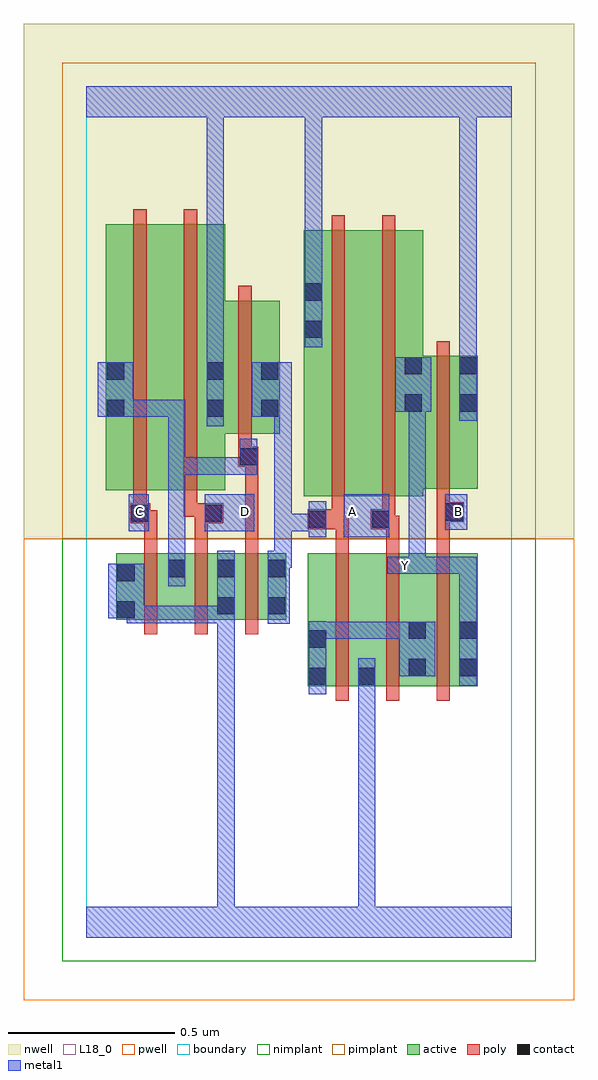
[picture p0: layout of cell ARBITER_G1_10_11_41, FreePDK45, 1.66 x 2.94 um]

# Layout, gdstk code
import gdstk
lib = gdstk.Library(unit=1e-6, precision=1e-09)
def R(c, l, rs):  # rectangles x0, y0, x1, y1
    for r in rs: c.add(gdstk.rectangle(r[:2], r[2:], *l))
def A(c, l, x, y, w, h, nx, ny, dx, dy):  # array of equal rectangles
    R(c, l, [(x+i*dx, y+j*dy, x+i*dx+w, y+j*dy+h) for i in range(nx) for j in range(ny)])
active = (1, 0)
pwell = (2, 0)
nwell = (3, 0)
nimplant = (4, 0)
pimplant = (5, 0)
poly = (9, 0)
contact = (10, 0)
metal1 = (11, 0)
L18_0 = (18, 0)
boundary = (235, 0)

arbiter_g1_10_11_41 = lib.new_cell('ARBITER_G1_10_11_41')
R(arbiter_g1_10_11_41, active, [(0.666,0.756,0.726,1.156), (0.666,0.756,0.874,1.156), (0.814,0.756,1.026,1.156), (0.814,0.756,0.874,0.816), (0.966,0.756,1.178,1.156), (0.966,0.756,1.026,0.954), (1.118,0.756,1.178,1.156), (0.09,0.956,0.15,1.156), (0.09,0.956,0.302,1.156), (0.242,0.956,0.302,1.156), (0.242,0.956,0.45,1.156), (0.39,0.956,0.45,1.156), (0.39,0.956,0.602,1.156), (0.542,0.956,0.602,1.156), (0.654,1.328,0.834,2.128), (0.654,1.328,0.714,2.044), (0.834,1.328,1.014,2.128), (0.058,1.346,0.238,2.146), (0.058,1.346,0.118,2.044), (0.238,1.346,0.418,2.146), (0.954,1.35,1.014,1.75), (0.954,1.35,1.178,1.75), (1.118,1.35,1.178,1.75), (0.358,1.516,0.582,1.916), (0.358,1.516,0.418,1.734), (0.522,1.516,0.582,1.734)])
R(arbiter_g1_10_11_41, pwell, [(-0.188,-0.188,1.468,1.2)])
R(arbiter_g1_10_11_41, nwell, [(-0.188,1.2,1.468,2.748)])
R(arbiter_g1_10_11_41, nimplant, [(-0.072,-0.072,1.352,1.2)])
R(arbiter_g1_10_11_41, pimplant, [(-0.072,1.2,1.352,2.632)])
A(arbiter_g1_10_11_41, poly, 0.75, 0.712, 0.04, 0.488, 3, 1, 0.152, 0)
A(arbiter_g1_10_11_41, poly, 0.174, 0.912, 0.04, 0.288, 3, 1, 0.152, 0)
R(arbiter_g1_10_11_41, poly, [(0.174,1.16,0.214,1.286), (0.326,1.16,0.366,1.286), (0.478,1.16,0.518,1.456), (0.75,1.16,0.79,1.268), (0.902,1.16,0.942,1.268), (1.054,1.16,1.094,1.29), (0.666,1.228,0.778,1.288), (0.738,1.228,0.778,1.268), (0.738,1.228,0.79,1.268), (0.856,1.228,0.93,1.288), (0.89,1.228,0.93,1.268), (0.89,1.228,0.942,1.268), (0.132,1.246,0.192,1.306), (0.152,1.246,0.192,1.286), (0.152,1.246,0.214,1.286), (0.326,1.246,0.412,1.306), (0.738,1.248,0.778,1.324), (0.89,1.248,0.93,1.324), (1.054,1.25,1.094,1.29), (1.054,1.25,1.094,1.29), (1.054,1.25,1.136,1.31), (0.142,1.266,0.182,1.342), (0.294,1.266,0.334,1.342), (0.294,1.266,0.366,1.306), (0.326,1.266,0.366,1.306), (1.054,1.27,1.094,1.346), (0.738,1.284,0.778,2.172), (0.89,1.284,0.93,2.172), (0.142,1.302,0.182,2.19), (0.294,1.302,0.334,2.19), (1.054,1.306,1.094,1.794), (0.458,1.416,0.518,1.476), (0.478,1.416,0.518,1.456), (0.478,1.416,0.518,1.456), (0.458,1.436,0.498,1.512), (0.458,1.472,0.498,1.96)])
R(arbiter_g1_10_11_41, contact, [(0.67,0.76,0.722,0.812), (0.818,0.76,0.87,0.812), (0.97,0.786,1.022,0.838), (1.122,0.786,1.174,0.838), (0.67,0.872,0.722,0.924), (0.97,0.898,1.022,0.95), (1.122,0.898,1.174,0.95), (0.094,0.96,0.146,1.012), (0.394,0.972,0.446,1.024), (0.546,0.972,0.598,1.024), (0.094,1.072,0.146,1.124), (0.246,1.084,0.298,1.136), (0.394,1.084,0.446,1.136), (0.546,1.084,0.598,1.136), (0.67,1.232,0.722,1.284), (0.86,1.232,0.912,1.284), (0.136,1.25,0.188,1.302), (0.356,1.25,0.408,1.302), (1.08,1.254,1.132,1.306), (0.462,1.42,0.514,1.472), (0.062,1.566,0.114,1.618), (0.362,1.566,0.414,1.618), (0.526,1.566,0.578,1.618), (0.958,1.582,1.01,1.634), (1.122,1.582,1.174,1.634), (0.062,1.678,0.114,1.73), (0.362,1.678,0.414,1.73), (0.526,1.678,0.578,1.73), (0.958,1.694,1.01,1.746), (1.122,1.694,1.174,1.746), (0.658,1.804,0.71,1.856), (0.658,1.916,0.71,1.968)])
R(arbiter_g1_10_11_41, metal1, [(0,0,1.28,0.092), (0.394,0.04,0.446,0.092), (0.394,0.04,0.446,0.092), (0.394,0.04,0.446,0.092), (0.394,0.04,0.446,0.092), (0.394,0.04,0.446,0.092), (0.394,0.04,0.446,0.092), (0.394,0.04,0.446,0.092), (0.394,0.04,0.446,0.092), (0.394,0.04,0.446,0.092), (0.394,0.04,0.446,0.092), (0.394,0.04,0.446,0.996), (0.818,0.04,0.87,0.092), (0.818,0.04,0.87,0.092), (0.818,0.04,0.87,0.092), (0.818,0.04,0.87,0.092), (0.818,0.04,0.87,0.092), (0.818,0.04,0.87,0.092), (0.818,0.04,0.87,0.092), (0.818,0.04,0.87,0.092), (0.818,0.04,0.87,0.092), (0.818,0.04,0.87,0.092), (0.818,0.04,0.87,0.092), (0.818,0.04,0.87,0.092), (0.818,0.04,0.87,0.784), (0.67,0.732,0.722,0.952), (0.818,0.732,0.87,0.84), (1.122,0.758,1.174,0.978), (0.942,0.786,1.05,0.95), (0.67,0.898,0.722,0.95), (0.67,0.898,0.722,0.95), (0.67,0.898,0.832,0.95), (0.78,0.898,0.832,0.95), (0.78,0.898,0.832,0.95), (0.78,0.898,0.832,0.95), (0.78,0.898,0.994,0.95), (1.122,0.926,1.174,1.146), (0.394,0.944,0.446,0.996), (0.394,0.944,0.446,0.996), (0.394,0.944,0.446,0.996), (0.394,0.944,0.446,0.996), (0.394,0.944,0.446,0.996), (0.394,0.944,0.446,0.996), (0.394,0.944,0.446,1.164), (0.546,0.944,0.612,1.164), (0.122,0.946,0.304,0.998), (0.122,0.946,0.174,1.012), (0.252,0.946,0.304,0.998), (0.252,0.946,0.304,0.998), (0.252,0.946,0.304,0.998), (0.252,0.946,0.446,0.998), (0.066,0.96,0.174,1.124), (0.122,0.96,0.174,1.012), (0.246,1.056,0.298,1.164), (0.906,1.094,1.022,1.146), (0.97,1.094,1.022,1.146), (0.97,1.094,1.022,1.146), (0.97,1.094,1.022,1.146), (0.97,1.094,1.022,1.146), (0.97,1.094,1.174,1.146), (0.97,1.094,1.022,1.634), (1.122,1.094,1.174,1.146), (0.246,1.112,0.298,1.444), (0.56,1.112,0.612,1.164), (0.56,1.112,0.618,1.164), (0.566,1.112,0.618,1.274), (0.67,1.204,0.722,1.312), (0.774,1.204,0.912,1.334), (0.128,1.222,0.188,1.334), (0.356,1.222,0.506,1.334), (0.566,1.222,0.618,1.274), (0.566,1.222,0.716,1.274), (0.566,1.222,0.618,1.618), (0.664,1.222,0.716,1.274), (0.664,1.222,0.722,1.274), (1.08,1.226,1.146,1.334), (0.246,1.392,0.298,1.444), (0.246,1.392,0.298,1.444), (0.246,1.392,0.298,1.444), (0.246,1.392,0.298,1.444), (0.246,1.392,0.298,1.444), (0.246,1.392,0.44,1.444), (0.246,1.392,0.298,1.618), (0.388,1.392,0.44,1.444), (0.388,1.392,0.514,1.444), (0.462,1.392,0.514,1.5), (0.362,1.538,0.414,1.758), (1.122,1.554,1.174,1.774), (0.034,1.566,0.142,1.73), (0.09,1.566,0.142,1.618), (0.09,1.566,0.142,1.618), (0.09,1.566,0.298,1.618), (0.246,1.566,0.298,1.618), (0.498,1.566,0.618,1.73), (0.93,1.582,1.038,1.746), (0.362,1.706,0.414,2.52), (1.122,1.722,1.174,1.774), (1.122,1.722,1.174,1.774), (1.122,1.722,1.174,1.774), (1.122,1.722,1.174,1.774), (1.122,1.722,1.174,1.774), (1.122,1.722,1.174,1.774), (1.122,1.722,1.174,1.774), (1.122,1.722,1.174,1.774), (1.122,1.722,1.174,1.774), (1.122,1.722,1.174,1.774), (1.122,1.722,1.174,1.774), (1.122,1.722,1.174,1.774), (1.122,1.722,1.174,2.52), (0.658,1.776,0.71,1.996), (0.658,1.944,0.71,1.996), (0.658,1.944,0.71,1.996), (0.658,1.944,0.71,1.996), (0.658,1.944,0.71,1.996), (0.658,1.944,0.71,1.996), (0.658,1.944,0.71,1.996), (0.658,1.944,0.71,2.52), (0,2.468,1.28,2.56), (0.362,2.468,0.414,2.52), (0.362,2.468,0.414,2.52), (0.362,2.468,0.414,2.52), (0.362,2.468,0.414,2.52), (0.362,2.468,0.414,2.52), (0.362,2.468,0.414,2.52), (0.362,2.468,0.414,2.52), (0.362,2.468,0.414,2.52), (0.658,2.468,0.71,2.52), (0.658,2.468,0.71,2.52), (1.122,2.468,1.174,2.52), (1.122,2.468,1.174,2.52), (1.122,2.468,1.174,2.52), (1.122,2.468,1.174,2.52)])
A(arbiter_g1_10_11_41, L18_0, 0.134, 1.254, 0.052, 0.052, 4, 1, 0.32, 0)
R(arbiter_g1_10_11_41, L18_0, [(0,0,1.28,0.092), (0.394,0.04,0.446,0.092), (0.394,0.04,0.446,0.092), (0.394,0.04,0.446,0.092), (0.394,0.04,0.446,0.092), (0.394,0.04,0.446,0.092), (0.394,0.04,0.446,0.092), (0.394,0.04,0.446,0.092), (0.394,0.04,0.446,0.092), (0.394,0.04,0.446,0.092), (0.394,0.04,0.446,0.092), (0.394,0.04,0.446,0.996), (0.818,0.04,0.87,0.092), (0.818,0.04,0.87,0.092), (0.818,0.04,0.87,0.092), (0.818,0.04,0.87,0.092), (0.818,0.04,0.87,0.092), (0.818,0.04,0.87,0.092), (0.818,0.04,0.87,0.092), (0.818,0.04,0.87,0.092), (0.818,0.04,0.87,0.092), (0.818,0.04,0.87,0.092), (0.818,0.04,0.87,0.092), (0.818,0.04,0.87,0.092), (0.818,0.04,0.87,0.784), (0.818,0.732,0.87,0.84), (1.122,0.758,1.174,0.978), (1.122,0.926,1.174,1.146), (0.394,0.944,0.446,0.996), (0.394,0.944,0.446,0.996), (0.394,0.944,0.446,0.996), (0.394,0.944,0.446,0.996), (0.394,0.944,0.446,0.996), (0.394,0.944,0.446,0.996), (0.394,0.944,0.446,1.164), (0.122,0.946,0.174,1.012), (0.122,0.946,0.304,0.998), (0.252,0.946,0.304,0.998), (0.252,0.946,0.304,0.998), (0.252,0.946,0.304,0.998), (0.252,0.946,0.446,0.998), (0.066,0.96,0.174,1.124), (0.122,0.96,0.174,1.012), (0.906,1.094,1.022,1.146), (0.934,1.094,0.986,1.146), (0.97,1.094,1.022,1.146), (0.97,1.094,1.022,1.146), (0.97,1.094,1.022,1.146), (0.97,1.094,1.022,1.146), (0.97,1.094,1.022,1.634), (0.97,1.094,1.174,1.146), (1.122,1.094,1.174,1.146), (0.774,1.204,0.912,1.334), (0.128,1.222,0.188,1.334), (0.356,1.222,0.506,1.334), (1.08,1.226,1.146,1.334), (0.362,1.538,0.414,1.758), (1.122,1.554,1.174,1.774), (0.93,1.582,1.038,1.746), (0.362,1.706,0.414,2.52), (1.122,1.722,1.174,1.774), (1.122,1.722,1.174,1.774), (1.122,1.722,1.174,1.774), (1.122,1.722,1.174,1.774), (1.122,1.722,1.174,1.774), (1.122,1.722,1.174,1.774), (1.122,1.722,1.174,1.774), (1.122,1.722,1.174,1.774), (1.122,1.722,1.174,1.774), (1.122,1.722,1.174,1.774), (1.122,1.722,1.174,1.774), (1.122,1.722,1.174,1.774), (1.122,1.722,1.174,2.52), (0.658,1.776,0.71,1.996), (0.658,1.944,0.71,1.996), (0.658,1.944,0.71,1.996), (0.658,1.944,0.71,1.996), (0.658,1.944,0.71,1.996), (0.658,1.944,0.71,1.996), (0.658,1.944,0.71,1.996), (0.658,1.944,0.71,2.52), (0,2.468,1.28,2.56), (0.362,2.468,0.414,2.52), (0.362,2.468,0.414,2.52), (0.362,2.468,0.414,2.52), (0.362,2.468,0.414,2.52), (0.362,2.468,0.414,2.52), (0.362,2.468,0.414,2.52), (0.362,2.468,0.414,2.52), (0.362,2.468,0.414,2.52), (0.658,2.468,0.71,2.52), (0.658,2.468,0.71,2.52), (1.122,2.468,1.174,2.52), (1.122,2.468,1.174,2.52), (1.122,2.468,1.174,2.52), (1.122,2.468,1.174,2.52)])
R(arbiter_g1_10_11_41, boundary, [(0,0,1.28,2.56)])
arbiter_g1_10_11_41.add(gdstk.Label('A', (0.8,1.28), layer=11, texttype=0))
arbiter_g1_10_11_41.add(gdstk.Label('B', (1.12,1.28), layer=11, texttype=0))
arbiter_g1_10_11_41.add(gdstk.Label('C', (0.16,1.28), layer=11, texttype=0))
arbiter_g1_10_11_41.add(gdstk.Label('D', (0.48,1.28), layer=11, texttype=0))
arbiter_g1_10_11_41.add(gdstk.Label('Y', (0.96,1.12), layer=11, texttype=0))

lib.write_gds('ARBITER_G1_10_11_41.gds')
